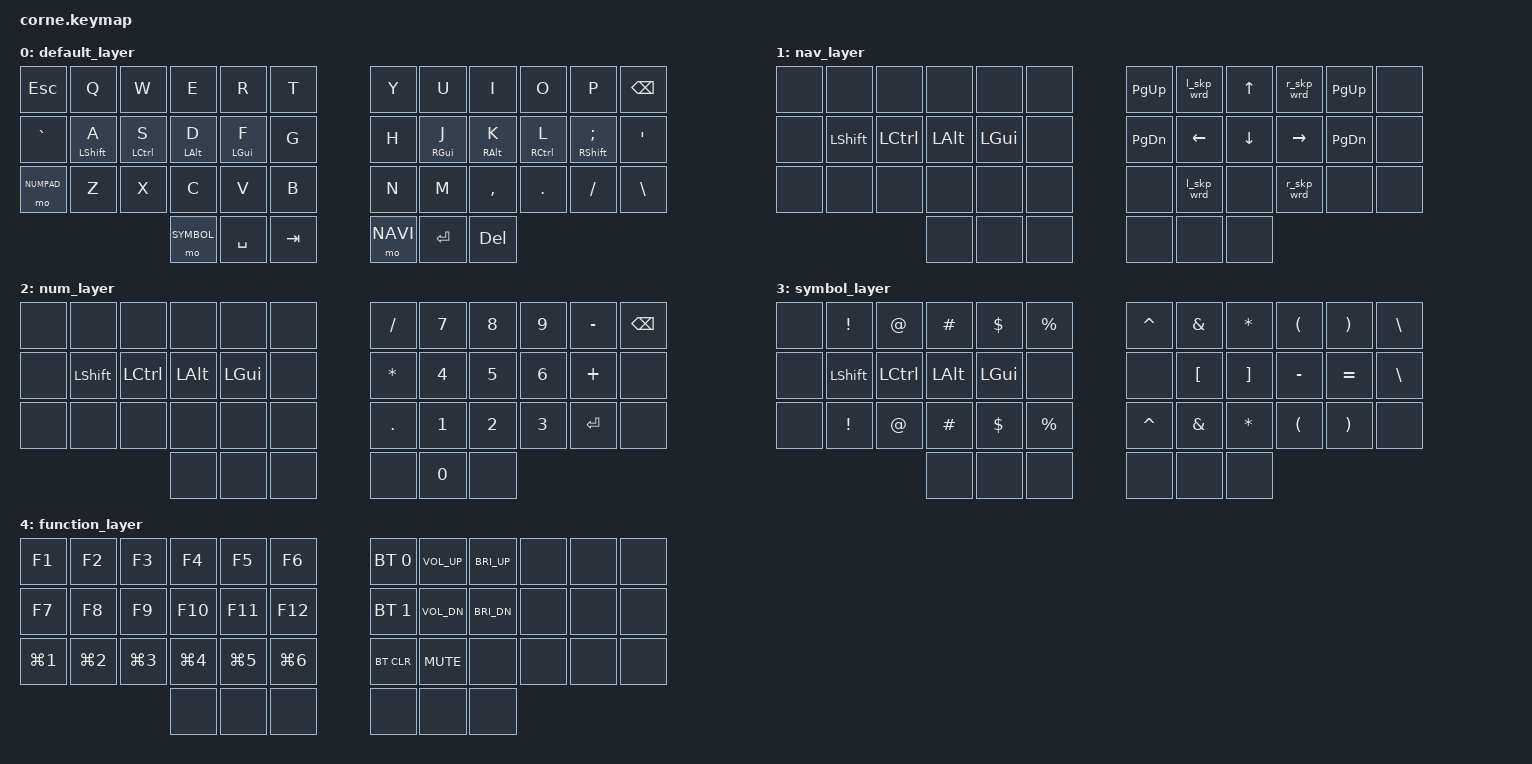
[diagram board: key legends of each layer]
/*
 * Copyright (c) 2020 The ZMK Contributors
 *
 * SPDX-License-Identifier: MIT
 */

#include <behaviors.dtsi>
#include <dt-bindings/zmk/keys.h>
#include <dt-bindings/zmk/bt.h>

#define DEFAULT 0
#define NAVI 1
#define NUMPAD 2
#define SYMBOL 3
#define FUNCTION 4

/ {
        behaviors {
                l_skp_wrd: l_skip_word {
                        compatible = "zmk,behavior-tap-dance";
                        #binding-cells = <0>;
                        tapping-term-ms = <200>;
                        bindings = <&kp LA(LEFT)>, <&kp HOME>;
                };
                r_skp_wrd: r_skip_word {
                        compatible = "zmk,behavior-tap-dance";
                        #binding-cells = <0>;
                        tapping-term-ms = <200>;
                        bindings = <&kp LA(RIGHT)>, <&kp END>;
                };
                // num_sym: number_symbol_layers {
                //         compatible = "zmk,behavior-tap-dance";
                //         #binding-cells = <0>;
                //         tapping-term-ms = <200>;
                //         bindings = <&tog NAVNUM>, <&tog SYMBOL>, <&tog FUNCTION>;
                // };
                rpi: require_prior_idle {
                        compatible = "zmk,behavior-hold-tap";
                        #binding-cells = <2>;
                        flavor = "tap-preferred";
                        tapping-term-ms = <200>;
                        quick-tap-ms = <200>;
                        require-prior-idle-ms = <150>;
                        bindings = <&kp>, <&kp>;
                };
        };
        combos {
                compatible = "zmk,combos";
                combo_layer {
                        timeout-ms = <50>;
                        key-positions = <38 39>;
                        bindings = <&mo FUNCTION>;
                };
        };
        keymap {
                compatible = "zmk,keymap";

                default_layer {
                        bindings = <
// +-----------+-------------+-------------+------------+------------+-----------+      +------------+------------+------------+-------------+----------------+-----------+
    &kp ESC      &kp Q         &kp W         &kp E        &kp R        &kp T             &kp Y        &kp U        &kp I        &kp O         &kp P            &kp BSPC
// +-----------+-------------+-------------+------------+------------+-----------+      +------------+------------+------------+-------------+----------------+-----------+
    &kp GRAVE    &rpi LSHFT A  &rpi LCTRL S  &rpi LALT D  &rpi LGUI F  &kp G             &kp H        &rpi RGUI J  &rpi RALT K  &rpi RCTRL L  &rpi RSHFT SEMI  &kp SQT
// +-----------+-------------+-------------+------------+------------+-----------+      +------------+------------+------------+-------------+----------------+-----------+
    &mo NUMPAD   &kp Z         &kp X         &kp C        &kp V        &kp B             &kp N        &kp M        &kp COMMA    &kp DOT       &kp FSLH         &kp BSLH
// +-----------+-------------+-------------+------------+------------+-----------+      +------------+------------+------------+-------------+----------------+-----------+
                                             &mo SYMBOL   &kp SPACE    &kp TAB           &mo NAVI     &kp RET      &kp DEL
//                                         +------------+------------+-----------+      +------------+------------+------------+
                        >;
                };
                nav_layer {
                        bindings = <
// +---------+------------+------------+----------+------------+-----------+    +------------+------------+----------+------------+-----------+-----------+
    &none      &none        &none        &none      &none        &none            &kp PG_UP    &l_skp_wrd   &kp UP     &r_skp_wrd   &kp PG_UP   &none
// +---------+------------+------------+----------+------------+-----------+    +------------+------------+----------+------------+-----------+-----------+
    &none      &kp LSHIFT   &kp LCTRL    &kp LALT   &kp LGUI     &none            &kp PG_DN    &kp LEFT     &kp DOWN   &kp RIGHT    &kp PG_DN   &none
// +---------+------------+------------+----------+------------+-----------+    +------------+------------+----------+------------+-----------+-----------+
    &none      &none        &none        &none      &none        &none            &none        &l_skp_wrd   &none      &r_skp_wrd   &none       &none
// +---------+------------+------------+----------+------------+-----------+    +------------+------------+----------+------------+-----------+-----------+
                                         &none      &none        &none            &none        &none        &none
//                                     +----------+------------+-----------+    +------------+------------+----------+
                        >;
                };
                num_layer {
                        bindings = <
// +---------+------------+------------+----------+------------+-----------+    +------------+--------+--------+--------+-----------+-----------+
    &none      &none        &none        &none      &none        &none            &kp SLASH    &kp N7   &kp N8   &kp N9   &kp MINUS   &kp BSPC
// +---------+------------+------------+----------+------------+-----------+    +------------+--------+--------+--------+-----------+-----------+
    &none      &kp LSHIFT   &kp LCTRL    &kp LALT   &kp LGUI     &none            &kp ASTRK    &kp N4   &kp N5   &kp N6   &kp PLUS    &none
// +---------+------------+------------+----------+------------+-----------+    +------------+--------+--------+--------+-----------+-----------+
    &none      &none        &none        &none      &none        &none            &kp PERIOD   &kp N1   &kp N2   &kp N3   &kp RET     &none
// +---------+------------+------------+----------+------------+-----------+    +------------+--------+--------+--------+-----------+-----------+
                                         &none      &none        &none            &none        &kp N0   &none
//                                     +----------+------------+-----------+    +------------+--------+--------+
                        >;
                };
                symbol_layer {
                        bindings = <
// +-----------+-----------+-----------+-----------+-----------+-----------+    +--------------+-----------+-----------+----------+----------+-----------+
     &none       &kp EXCL    &kp AT      &kp HASH    &kp DLLR    &kp PRCNT        &kp CARET      &kp AMPS    &kp ASTRK   &kp LPAR   &kp RPAR   &kp BSLH
// +-----------+-----------+-----------+-----------+-----------+-----------+    +--------------+-----------+-----------+----------+----------+-----------+
     &none       &kp LSHIFT  &kp LCTRL   &kp LALT    &kp LGUI    &none            &none          &kp LBKT    &kp RBKT    &kp MINUS  &kp EQUAL  &kp BSLH
// +-----------+-----------+-----------+-----------+-----------+-----------+    +--------------+-----------+-----------+----------+----------+-----------+
     &none       &kp EXCL    &kp AT      &kp HASH    &kp DLLR    &kp PRCNT        &kp CARET      &kp AMPS    &kp ASTRK   &kp LPAR   &kp RPAR   &none
// +-----------+-----------+-----------+-----------+-----------+-----------+    +--------------+-----------+-----------+----------+----------+-----------+
                                         &none       &none       &none            &none          &none          &none
//                                     +-----------+-----------+-----------+    +--------------+-----------+-----------+
                        >;
                };

                function_layer {
                        bindings = <
// +-----------+-----------+-----------+-----------+-----------+-----------+    +--------------+--------------+--------------+-----------+-----------+-----------+
     &kp F1      &kp F2      &kp F3      &kp F4      &kp F5      &kp F6           &bt BT_SEL 0   &kp C_VOL_UP   &kp C_BRI_UP   &none       &none       &none
// +-----------+-----------+-----------+-----------+-----------+-----------+    +--------------+--------------+--------------+-----------+-----------+-----------+
     &kp F7      &kp F8      &kp F9      &kp F10     &kp F11     &kp F12          &bt BT_SEL 1   &kp C_VOL_DN   &kp C_BRI_DN   &none       &none       &none
// +-----------+-----------+-----------+-----------+-----------+-----------+    +--------------+--------------+--------------+-----------+-----------+-----------+
     &kp LG(1)   &kp LG(2)   &kp LG(3)   &kp LG(4)   &kp LG(5)   &kp LG(6)        &bt BT_CLR     &kp C_MUTE     &none          &none       &none       &none
// +-----------+-----------+-----------+-----------+-----------+-----------+    +--------------+--------------+--------------+-----------+-----------+-----------+
                                         &none       &none       &none            &none          &none          &none
//                                     +-----------+-----------+-----------+    +--------------+--------------+--------------+
                        >;
                };
        };
};
